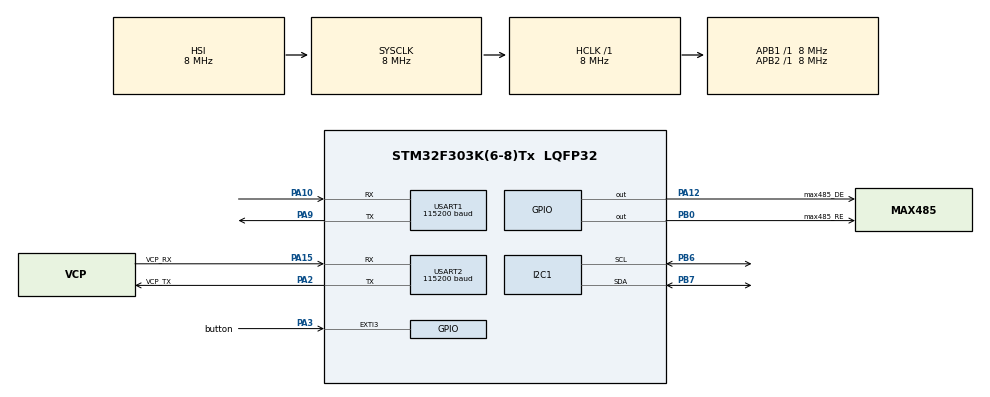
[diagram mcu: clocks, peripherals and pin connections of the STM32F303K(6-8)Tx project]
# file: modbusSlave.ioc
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FREERTOS.Tasks01=lcdTask,0,400,lcdHandlerTask,Default,NULL,Dynamic,NULL,NULL;modbusTask,2,512,ModbusSlaveTask,Default,NULL,Dynamic,NULL,NULL;console,-3,256,consoleTask,Default,NULL,Dynamic,NULL,NULL
FREERTOS.configTOTAL_HEAP_SIZE=6072
FREERTOS.configUSE_NEWLIB_REENTRANT=1
I2C1.Timing=0x00201D2B
Mcu.Family=STM32F3
Mcu.Name=STM32F303K(6-8)Tx
Mcu.Package=LQFP32
NVIC.EXTI3_IRQn=true\:5\:0\:false\:false\:true\:true\:true\:true\:true
NVIC.PriorityGroup=NVIC_PRIORITYGROUP_4
NVIC.TIM1_TRG_COM_TIM17_IRQn=true\:15\:0\:false\:false\:true\:false\:false\:true\:true
NVIC.TimeBase=TIM1_TRG_COM_TIM17_IRQn
NVIC.TimeBaseIP=TIM17
NVIC.USART1_IRQn=true\:5\:0\:false\:false\:true\:true\:true\:true\:true
NVIC.USART2_IRQn=true\:5\:0\:false\:false\:true\:true\:true\:true\:true
PA10.Mode=Asynchronous
PA10.Signal=USART1_RX
PA12.GPIO_Label=max485_DE
PA12.Signal=GPIO_Output
PA13.GPIO_Label=SWDIO
PA13.Mode=Serial_Wire
PA13.Signal=SYS_JTMS-SWDIO
PA14.GPIO_Label=SWCLK
PA14.Mode=Serial_Wire
PA14.Signal=SYS_JTCK-SWCLK
PA15.GPIO_Label=VCP_RX
PA15.Mode=Asynchronous
PA15.Signal=USART2_RX
PA2.GPIO_Label=VCP_TX
PA2.Mode=Asynchronous
PA2.Signal=USART2_TX
PA3.GPIO_Label=button
PA3.GPIO_ModeDefaultEXTI=GPIO_MODE_IT_RISING_FALLING
PA3.GPIO_PuPd=GPIO_PULLUP
PA3.Signal=GPXTI3
PA9.Mode=Asynchronous
PA9.Signal=USART1_TX
PB0.GPIO_Label=max485_RE
PB0.Signal=GPIO_Output
PB6.Mode=I2C
PB6.Signal=I2C1_SCL
PB7.Mode=I2C
PB7.Signal=I2C1_SDA
PF0\ /\ OSC_IN.GPIO_Label=MCO
PF0\ /\ OSC_IN.Mode=HSE-External-Clock-Source
PF0\ /\ OSC_IN.Signal=RCC_OSC_IN
ProjectManager.HeapSize=0x200
ProjectManager.StackSize=0x400
ProjectManager.TargetToolchain=STM32CubeIDE
RCC.AHBFreq_Value=8000000
RCC.APB1Freq_Value=8000000
RCC.APB2Freq_Value=8000000
RCC.CortexFreq_Value=8000000
RCC.HSE_VALUE=8000000
RCC.HSI_VALUE=8000000
RCC.SYSCLKFreq_VALUE=8000000
USART1.BaudRate=115200
USART1.VirtualMode-Asynchronous=VM_ASYNC
USART2.BaudRate=115200
USART2.VirtualMode-Asynchronous=VM_ASYNC
VP_FREERTOS_VS_CMSIS_V1.Mode=CMSIS_V1
VP_RTC_VS_RTC_Activate.Mode=RTC_Enabled
VP_SYS_VS_tim17.Mode=TIM17
board=NUCLEO-F303K8

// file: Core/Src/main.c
/* USER CODE BEGIN Header */
/**
  ******************************************************************************
  * @file           : main.c
  * @brief          : Main program body
  ******************************************************************************
  * @attention
  *
  * Copyright (c) 2025 STMicroelectronics.
  * All rights reserved.
  *
  * This software is licensed under terms that can be found in the LICENSE file
  * in the root directory of this software component.
  * If no LICENSE file comes with this software, it is provided AS-IS.
  *
  ******************************************************************************
  */
/* USER CODE END Header */
#include "main.h"
#include "cmsis_os.h"
#include "i2c.h"
#include "rtc.h"
#include "usart.h"
#include "gpio.h"

void SystemClock_Config(void);
void MX_FREERTOS_Init(void);

int main(void)
{

  /* MCU Configuration--------------------------------------------------------*/

  /* Reset of all peripherals, Initializes the Flash interface and the Systick. */
  HAL_Init();

  /* Configure the system clock */
  SystemClock_Config();

  /* Initialize all configured peripherals */
  MX_GPIO_Init();
  MX_USART2_UART_Init();
  MX_I2C1_Init();
  MX_RTC_Init();
  MX_USART1_UART_Init();

  /* Call init function for freertos objects (in cmsis_os2.c) */
  MX_FREERTOS_Init();

  /* Start scheduler */
  osKernelStart();

  /* We should never get here as control is now taken by the scheduler */

  /* Infinite loop */
  while (1)
  {

  }
}

void SystemClock_Config(void)
{
  RCC_OscInitTypeDef RCC_OscInitStruct = {0};
  RCC_ClkInitTypeDef RCC_ClkInitStruct = {0};
  RCC_PeriphCLKInitTypeDef PeriphClkInit = {0};

  /** Initializes the RCC Oscillators according to the specified parameters
  * in the RCC_OscInitTypeDef structure.
  */
  RCC_OscInitStruct.OscillatorType = RCC_OSCILLATORTYPE_HSI|RCC_OSCILLATORTYPE_LSI;
  RCC_OscInitStruct.HSIState = RCC_HSI_ON;
  RCC_OscInitStruct.HSICalibrationValue = RCC_HSICALIBRATION_DEFAULT;
  RCC_OscInitStruct.LSIState = RCC_LSI_ON;
  RCC_OscInitStruct.PLL.PLLState = RCC_PLL_NONE;
  if (HAL_RCC_OscConfig(&RCC_OscInitStruct) != HAL_OK)
  {
    Error_Handler();
  }

  /** Initializes the CPU, AHB and APB buses clocks
  */
  RCC_ClkInitStruct.ClockType = RCC_CLOCKTYPE_HCLK|RCC_CLOCKTYPE_SYSCLK
                              |RCC_CLOCKTYPE_PCLK1|RCC_CLOCKTYPE_PCLK2;
  RCC_ClkInitStruct.SYSCLKSource = RCC_SYSCLKSOURCE_HSI;
  RCC_ClkInitStruct.AHBCLKDivider = RCC_SYSCLK_DIV1;
  RCC_ClkInitStruct.APB1CLKDivider = RCC_HCLK_DIV1;
  RCC_ClkInitStruct.APB2CLKDivider = RCC_HCLK_DIV1;

  if (HAL_RCC_ClockConfig(&RCC_ClkInitStruct, FLASH_LATENCY_0) != HAL_OK)
  {
    Error_Handler();
  }
  PeriphClkInit.PeriphClockSelection = RCC_PERIPHCLK_USART1|RCC_PERIPHCLK_I2C1
                              |RCC_PERIPHCLK_RTC;
  PeriphClkInit.Usart1ClockSelection = RCC_USART1CLKSOURCE_PCLK1;
  PeriphClkInit.I2c1ClockSelection = RCC_I2C1CLKSOURCE_HSI;
  PeriphClkInit.RTCClockSelection = RCC_RTCCLKSOURCE_LSI;
  if (HAL_RCCEx_PeriphCLKConfig(&PeriphClkInit) != HAL_OK)
  {
    Error_Handler();
  }
}

void HAL_TIM_PeriodElapsedCallback(TIM_HandleTypeDef *htim)
{
  if (htim->Instance == TIM17)
  {
    HAL_IncTick();
  }
}

void Error_Handler(void)
{
  __disable_irq();
  while (1)
  {
  }
}

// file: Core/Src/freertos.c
/* USER CODE BEGIN Header */
/**
 ******************************************************************************
 * File Name          : freertos.c
 * Description        : Code for freertos applications
 ******************************************************************************
 * @attention
 *
 * Copyright (c) 2025 STMicroelectronics.
 * All rights reserved.
 *
 * This software is licensed under terms that can be found in the LICENSE file
 * in the root directory of this software component.
 * If no LICENSE file comes with this software, it is provided AS-IS.
 *
 ******************************************************************************
 */
/* USER CODE END Header */

#include "FreeRTOS.h"
#include "task.h"
#include "main.h"
#include "cmsis_os.h"

/* USER CODE BEGIN Includes */
#include <stdio.h>
#include <stdarg.h>
#include <string.h>
#include "usart.h"
#include "rtc.h"
#include "i2c.h"

#include "modbus/config.h"
#include "modbus/modbus.h"
#include "modbus/modbusMaster.h"
#include "oled/ssd1306.h"
#include "oled/ssd1306_fonts.h"
/* USER CODE END Includes */

/* USER CODE BEGIN Variables */

/* In master mode :To store event time from two slaves
 * In slave mode  : store own event time stamp on 0th index
 */
rtcTime eventTime[2];

/* USER CODE BEGIN 4 */

#define MODBUS_RTU_SILENCE_TIME  2 // 2 ticks (2 ms)

// Buffer for received data
#define RX_BUFFER_SIZE 256 // Buffer size for receiving data
typedef struct uartStream
{
	uint8_t rxBuffer[RX_BUFFER_SIZE];
	uint8_t txBuffer[RX_BUFFER_SIZE];
	uint8_t rxByte;
	uint8_t rxFillIndex;
	uint8_t txFillIndex;
	uint8_t rxReadIndex;
	uint8_t txReadIndex;
	uint32_t lastByteTimestamp;
} uartStream;

uartStream uart1Stream;
uartStream uart2Stream;

/* USER CODE END Variables */
osThreadId lcdTaskHandle;
osThreadId modbusTaskHandle;
osThreadId consoleHandle;

void lcdHandlerTask(void const * argument);
void ModbusSlaveTask(void const * argument);
void consoleTask(void const * argument);

void MX_FREERTOS_Init(void); /* (MISRA C 2004 rule 8.1) */

/* GetIdleTaskMemory prototype (linked to static allocation support) */
void vApplicationGetIdleTaskMemory( StaticTask_t **ppxIdleTaskTCBBuffer, StackType_t **ppxIdleTaskStackBuffer, uint32_t *pulIdleTaskStackSize );

/* USER CODE BEGIN GET_IDLE_TASK_MEMORY */
static StaticTask_t xIdleTaskTCBBuffer;
static StackType_t xIdleStack[configMINIMAL_STACK_SIZE];

void vApplicationGetIdleTaskMemory( StaticTask_t **ppxIdleTaskTCBBuffer, StackType_t **ppxIdleTaskStackBuffer, uint32_t *pulIdleTaskStackSize )
{
	*ppxIdleTaskTCBBuffer = &xIdleTaskTCBBuffer;
	*ppxIdleTaskStackBuffer = &xIdleStack[0];
	*pulIdleTaskStackSize = configMINIMAL_STACK_SIZE;
	/* place for user code */
}
/* USER CODE END GET_IDLE_TASK_MEMORY */

void MX_FREERTOS_Init(void) {

	/* Create the thread(s) */
	/* definition and creation of lcdTask */
	osThreadDef(lcdTask, lcdHandlerTask, osPriorityNormal, 0, 400);
	lcdTaskHandle = osThreadCreate(osThread(lcdTask), NULL);

	/* definition and creation of modbusTask */
	osThreadDef(modbusTask, ModbusSlaveTask, osPriorityHigh, 0, 512);
	modbusTaskHandle = osThreadCreate(osThread(modbusTask), NULL);

	/* definition and creation of console */
	osThreadDef(console, consoleTask, osPriorityIdle, 0, 256);
	consoleHandle = osThreadCreate(osThread(console), NULL);

}

void lcdHandlerTask(void const * argument)
{
	/* USER CODE BEGIN lcdHandlerTask */
	char textBuffer[32];
	rtcTime time;
	time.SubSeconds = 0;

	ssd1306_Init();
	ssd1306_Fill(Black);
	ssd1306_DrawRectangle(0,0,127,63,1);
	ssd1306_UpdateScreen();

	// Read the date
	DS1307_GetDate(&time.day, &time.date, &time.month, &time.year);
	//read time
	DS1307_GetTime(&time.hours, &time.minutes, &time.seconds);

	setRTC(&time);

	/* Infinite loop */
	for(;;)
	{
		readRTC(&time);

		ssd1306_SetCursor(16, 6);
		sprintf(textBuffer, "Time %.2d:%.2d:%.2d.%.3d", time.hours,
				time.minutes, time.seconds, time.SubSeconds);
		ssd1306_WriteString(textBuffer, Font_6x8, White);

		ssd1306_SetCursor(10, 26);
		sprintf(textBuffer, "Event %.2d:%.2d:%.2d.%.3d", eventTime[0].hours,
				eventTime[0].minutes, eventTime[0].seconds,
				eventTime[0].SubSeconds);
		ssd1306_WriteString(textBuffer, Font_6x8, White);

		setHoldingRegister(&modbusSlave, RTC_HOURS, (uint16_t)time.hours);
		setHoldingRegister(&modbusSlave, RTC_MINUTES, (uint16_t)time.minutes);
		setHoldingRegister(&modbusSlave, RTC_SECONDS, (uint16_t)time.seconds);
		setHoldingRegister(&modbusSlave, RTC_SUBSECONDS, (uint16_t)time.SubSeconds);
		setHoldingRegister(&modbusSlave, RTC_DATE, (uint16_t)time.date);
		setHoldingRegister(&modbusSlave, RTC_MONTH, (uint16_t)time.month);
		setHoldingRegister(&modbusSlave, RTC_YEAR, (uint16_t)time.year);

		ssd1306_UpdateScreen();

		osDelay(50);
	}
	/* USER CODE END lcdHandlerTask */
}

/* USER CODE BEGIN Header_ModbusSlaveTask */

/*
 * @brief  Function to print debug messages to UART2.
 * @param  format: Format string (similar to printf).
 * @retval None
 */
void myPrintf(uint8_t debugLevel, const char *format, ...)
{
	if (debugLevel <= DEBUG_LEVEL)
	{
		char buffer[128];
		va_list args;
		va_start(args, format);
		vsnprintf(buffer, sizeof(buffer), format, args);
		va_end(args);

		// Ensure the buffer does not overflow
		size_t length = strlen(buffer);
		size_t index = 0;
		while (length)
		{
			uart2Stream.txBuffer[uart2Stream.txFillIndex++] = buffer[index++];
			if (uart2Stream.txFillIndex >= RX_BUFFER_SIZE)
			{
				uart2Stream.txFillIndex = 0;  // Reset index on overflow
			}
			length--;
		}
	}
}

void HAL_GPIO_EXTI_Callback(uint16_t GPIO_Pin)
{
	if (GPIO_Pin == GPIO_PIN_3)
	{
		// Button pressed
		uint8_t buttonStatus = HAL_GPIO_ReadPin(GPIOA, GPIO_PIN_3);

		setDiscreteInputState(&modbusSlave, DI_buttonStatus, buttonStatus);
		readRTC(&eventTime[0]);
		printInfo("Button state=%d\t",buttonStatus);
		printInfo("TimeStamp= %.2d/%.2d/%.4d %.2d:%.2d:%.2d.%.3d\n",\
				eventTime[0].date,eventTime[0].month,eventTime[0].year+2000, \
				eventTime[0].hours,eventTime[0].minutes,eventTime[0].seconds,eventTime[0].SubSeconds);

	}
}

/// Interrupt callback when a byte is received
void HAL_UART_RxCpltCallback(UART_HandleTypeDef *huart)
{
	uartStream *stream = NULL;

	if (huart->Instance == USART1)
	{
		stream = &uart1Stream;
	}
	else if (huart->Instance == USART2)
	{
		stream = &uart2Stream;
	}

	if (stream != NULL)
	{
		// Store received byte in the buffer directly from UART
		stream->rxBuffer[stream->rxFillIndex++] = stream->rxByte;

		stream->lastByteTimestamp = xTaskGetTickCount();

		// Prevent buffer overflow
		if (stream->rxFillIndex >= RX_BUFFER_SIZE)
		{
			stream->rxFillIndex = 0;  // Reset index on overflow
		}
		// Restart UART reception for the next byte
		HAL_UART_Receive_IT(huart, &stream->rxByte, 1);
	}
}

// Function to detect if a Modbus frame is ready for UART1
uint8_t isModbusFrameReady(uint8_t slaveID)
{
	uint8_t frameReady = 0;
	uartStream *stream = &uart1Stream;

	// Calculate elapsed time since last byte received
	uint32_t elapsedTime = xTaskGetTickCount() - stream->lastByteTimestamp;

	// Check if 3.5 character times have passed (frame is ready)
	if (elapsedTime >= MODBUS_RTU_SILENCE_TIME)
	{
		if((stream->rxFillIndex != stream->rxReadIndex))
		{
			frameReady = 1;  // Frame is ready for processing
		}
	}
	return frameReady;
}

void RS485_Transmit(uint8_t *data, uint16_t dataLen)
{
	// Set DE high and RE low (transmit mode)
	HAL_GPIO_WritePin(max485_DE_GPIO_Port, max485_DE_Pin, GPIO_PIN_SET);
	HAL_GPIO_WritePin(max485_RE_GPIO_Port, max485_RE_Pin, GPIO_PIN_SET);

	printInfo("sendLen=%d\n",dataLen);

	HAL_UART_Transmit(&huart1, data, dataLen, osWaitForever);

	// Set DE and RE low (receive mode) after transmission is complete
	HAL_GPIO_WritePin(max485_DE_GPIO_Port, max485_DE_Pin, GPIO_PIN_RESET);
	HAL_GPIO_WritePin(max485_RE_GPIO_Port, max485_RE_Pin, GPIO_PIN_RESET);
}

void slaveCallback(uint16_t regAddress, uint16_t numOfRegisters)
{
	switch (regAddress)
	{
	case RTC_DATE:
		if (numOfRegisters > RTC_DATE - RTC_SUBSECONDS)
		{
			regAddress += RTC_SUBSECONDS;

			uint16_t tempVal;
			rtcTime newTime;

			readRTC(&newTime);
			printInfo("old Time= %.2d/%.2d/%.4d %.2d:%.2d:%.2d.%.3d\n",
					newTime.date, newTime.month, newTime.year + 2000,
					newTime.hours, newTime.minutes, newTime.seconds, newTime.SubSeconds);

			if (getHoldingRegister(&modbusSlave, RTC_HOURS, &tempVal))
			{
				newTime.hours = tempVal;
			}
			if (getHoldingRegister(&modbusSlave, RTC_MINUTES, &tempVal))
			{
				newTime.minutes = tempVal;
			}
			if (getHoldingRegister(&modbusSlave, RTC_SECONDS, &tempVal))
			{
				newTime.seconds = tempVal;
			}
			if (getHoldingRegister(&modbusSlave, RTC_SUBSECONDS, &tempVal))
			{
				newTime.SubSeconds = tempVal;
			}

			if (getHoldingRegister(&modbusSlave, RTC_DATE, &tempVal))
			{
				newTime.date = tempVal;
			}
			if (getHoldingRegister(&modbusSlave, RTC_MONTH, &tempVal))
			{
				newTime.month = tempVal;
			}
			if (getHoldingRegister(&modbusSlave, RTC_YEAR, &tempVal))
			{
				newTime.year = tempVal - 2000;
			}

			DS1307_SetTime(newTime.hours, newTime.minutes, newTime.seconds);

			// Set the RTC date
			DS1307_SetDate(0, newTime.date, newTime.month, newTime.year);

			setRTC(&newTime);

			printInfo("New Time= %.2d/%.2d/%.4d %.2d:%.2d:%.2d.%.3d\n",
					newTime.date, newTime.month, newTime.year + 2000,
					newTime.hours, newTime.minutes, newTime.seconds, newTime.SubSeconds);
		}
		break;

	default:
		break;
	}
}

/**
 * @brief Function implementing the modbusTask thread.
 * @param argument: Not used
 * @retval None
 */
/* USER CODE END Header_ModbusSlaveTask */
void ModbusSlaveTask(void const * argument)
{
	/* USER CODE BEGIN ModbusSlaveTask */

	initModbusSlaveData(&modbusSlave, slaveID, numOfHoldingRegs, numOfInputRegs, numOfCoils, numOfDisInput);

	//put max485 in reception mode
	HAL_GPIO_WritePin(max485_DE_GPIO_Port, max485_DE_Pin, GPIO_PIN_RESET);
	HAL_GPIO_WritePin(max485_RE_GPIO_Port, max485_RE_Pin, GPIO_PIN_RESET);

	// Start UART reception in interrupt mode
	HAL_UART_Receive_IT(&huart1, &uart1Stream.rxByte, 1);

	/* Infinite loop */
	for(;;)
	{
		// Example: Check if a complete Modbus frame has been received
		if (isModbusFrameReady(modbusSlave.slaveID))
		{
			uint8_t modlen = getModSlaveFrameLen(uart1Stream.rxBuffer+uart1Stream.rxReadIndex);

			printInfo("Request received=%d, modlen = %d\n", uart1Stream.rxFillIndex - uart1Stream.rxReadIndex,modlen);

			if(modlen <= uart1Stream.rxFillIndex - uart1Stream.rxReadIndex,modlen)
			{
				handleModbusRequest(uart1Stream.rxBuffer+uart1Stream.rxReadIndex, modlen, &modbusSlave);
				uart1Stream.rxReadIndex += modlen;
			}

			/* This can be improved as circular buffer is used for UART reception
			   if consumption in circular manner no need of reset */
			if((uart1Stream.rxFillIndex == uart1Stream.rxReadIndex))
			{
				uart1Stream.rxFillIndex = 0;  // Reset index for next frame
				uart1Stream.rxReadIndex = 0;  // Reset index for next frame
			}
			printInfo("received Modbus packet\n");

		}
		osDelay(5);
		/* USER CODE END ModbusSlaveTask */
	}
}
void consoleTask(void const * argument)
{
	/* USER CODE BEGIN consoleTask */

	// Start UART reception in interrupt mode for UART2
	HAL_UART_Receive_IT(&huart2, &uart2Stream.rxByte, 1);

	for(;;)
	{
		// Check if data is received on UART2
		if (uart2Stream.rxFillIndex != uart2Stream.rxReadIndex)
		{
			// Parse received data
			char commandBuffer[32];
			uint8_t commandIndex = 0;

			while (uart2Stream.rxFillIndex != uart2Stream.rxReadIndex && commandIndex < sizeof(commandBuffer) - 1)
			{
				commandBuffer[commandIndex++] = uart2Stream.rxBuffer[uart2Stream.rxReadIndex++];
				if (uart2Stream.rxReadIndex >= RX_BUFFER_SIZE)
				{
					uart2Stream.rxReadIndex = 0;  // Reset index on overflow
				}
			}
			commandBuffer[commandIndex] = '\0';  // Null-terminate the command string

			// Check if the command is "setTime HH:MM:SS"
			if (strncmp(commandBuffer, "setTime ", 8) == 0)
			{
				RTC_TimeTypeDef newTime = {0};
				int hours, minutes, seconds;

				if (sscanf(commandBuffer + 8, "%2d:%2d:%2d", &hours, &minutes, &seconds) == 3)
				{
					// Set the RTC time
					newTime.Hours = hours;
					newTime.Minutes = minutes;
					newTime.Seconds = seconds;
					newTime.SubSeconds = 0;

					DS1307_SetTime(newTime.Hours, newTime.Minutes, newTime.Seconds);

					// Set the internal RTC time
					if (HAL_RTC_SetTime(&hrtc, &newTime, RTC_FORMAT_BIN) != HAL_OK)
					{
						printInfo("Failed to set internal RTC time\n");
					}
					else
					{
						printInfo("Time set to %.2d:%.2d:%.2d\n", newTime.Hours, newTime.Minutes, newTime.Seconds);
					}
				}
				else
				{
					printInfo("Invalid time format. Use HH:MM:SS\n");
				}
			}

			// Check if the command is "setDate DD/MM/YYYY"
			else if (strncmp(commandBuffer, "setDate ", 8) == 0)
			{
				RTC_DateTypeDef newDate = {0};
				int day, month, year;

				if (sscanf(commandBuffer + 8, "%2d/%2d/%4d", &day, &month, &year) == 3)
				{
					newDate.Date = day;
					newDate.Month = month;
					newDate.Year = year - 2000; // Adjust year for internal RTC

					// Set the RTC date
					DS1307_SetDate(0,newDate.Date, newDate.Month, newDate.Year);

					if (HAL_RTC_SetDate(&hrtc, &newDate, RTC_FORMAT_BIN) != HAL_OK)
					{
						printInfo("Failed to set internal RTC date\n");
					}
					else
					{
						printInfo("Date set to %.2d/%.2d/%.4d\n", newDate.Date, newDate.Month, newDate.Year + 2000);
					}
				}
				else
				{
					printInfo("Invalid date format. Use DD/MM/YYYY\n");
				}
			}
			else
			{
				printInfo("Unknown command: %s\n", commandBuffer);
			}
		}

		// Check if there is data to send from txBuffer
		while (uart2Stream.txFillIndex != uart2Stream.txReadIndex)
		{
			// Calculate the number of bytes to send

			// Send all available data from txBuffer
			HAL_UART_Transmit(&huart2, &uart2Stream.txBuffer[uart2Stream.txReadIndex], 1, HAL_MAX_DELAY);
			uart2Stream.txReadIndex++;

			// Prevent buffer overflow
			if (uart2Stream.txReadIndex >= RX_BUFFER_SIZE)
			{
				uart2Stream.txReadIndex = 0;  // Reset index on overflow
			}
		}

		osDelay(50);
	}
	/* USER CODE END consoleTask */
}
